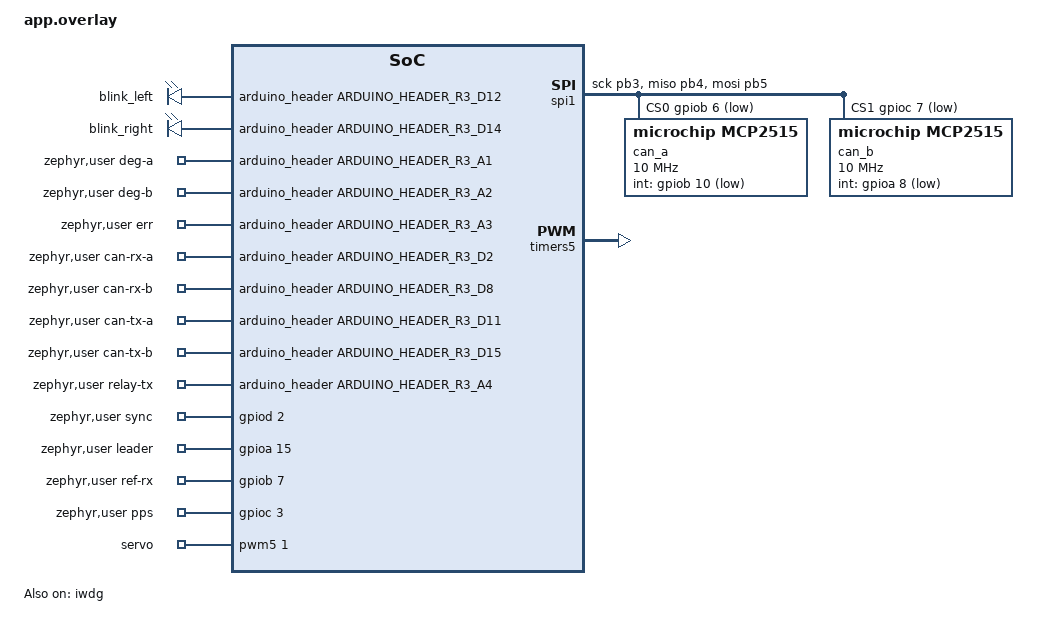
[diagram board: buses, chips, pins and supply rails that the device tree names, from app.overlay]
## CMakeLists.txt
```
cmake_minimum_required(VERSION 3.20.0)
find_package(Zephyr REQUIRED HINTS $ENV{ZEPHYR_BASE})
project(stm32_front)

# N2, the steering zone
target_compile_definitions(app PRIVATE NODE_ID=2)

# LEADER=random etc. for checkoff: west build-<front|rear> -p -- -DRAFT_DEFAULT_LEADER=0 (see raft_config.h)
foreach(opt RAFT_DEFAULT_LEADER RAFT_SEED)
	if(DEFINED ${opt})
		target_compile_definitions(app PRIVATE ${opt}=${${opt}})
	endif()
endforeach()

set(COMMON ${CMAKE_CURRENT_SOURCE_DIR}/../stm32-common)

target_sources(app PRIVATE src/main.c src/servo.c ${COMMON}/src/canbus.c ${COMMON}/src/relay.c
	${COMMON}/src/ctrl.c ${COMMON}/src/errorstate.c ${COMMON}/src/blinker.c
	${COMMON}/src/globaltime.c ${COMMON}/src/raftlog.c ${COMMON}/src/raftnode.c ${COMMON}/src/raft.c)
target_include_directories(app PRIVATE include ${COMMON}/include)
```

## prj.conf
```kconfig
CONFIG_GPIO=y
CONFIG_PWM=y
CONFIG_CAN=y
CONFIG_CRC=y
CONFIG_WATCHDOG=y

# Debug: print the reset cause at boot (was it the watchdog?)
CONFIG_HWINFO=y

# main does init, then FORCE_TX: the lowest priority, below every other thread
CONFIG_MAIN_THREAD_PRIORITY=10

# One MCP2515 filter per received CAN ID (canbus.c MAX_HANDLERS)
CONFIG_CAN_MCP2515_MAX_FILTERS=24

# 1 us ticks: clock_settime/gettime count in ticks, and 100 us (the default) is too coarse for sync
CONFIG_SYS_CLOCK_TICKS_PER_SEC=1000000
```

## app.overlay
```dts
/*
 * N2 (front, steering) pin assignments for the Nucleo-F401RE.
 * The CAN wiring is the same on both nodes; stm32-can-test uses this file.
 * Common code needs the same labels on both nodes (CAN, DEG_A/B, ERR,
 * blinkers, CAN test points).
 *
 * Pitfalls:
 * - The board file already gives many header pins to SPI/I2C/UART/PWM. The
 *   build does NOT flag two users of one pin; the last driver to set it
 *   wins. Before enabling a board peripheral, check its pins against this file.
 * - GPIOs use Arduino names (D2, A5); PWM pinctrl uses MCU names (PA10).
 *   Both refer to the same pins.
 * - D13 (PA5) also drives the green LD2.
 * - Interrupt pins need different pin numbers (one EXTI line per number).
 *   In use: CAN INT 10 and 8, test button 13.
 */

/ {
    aliases {
        can-a = &can_a;
        can-b = &can_b;
    };

    chosen {
        zephyr,canbus = &can_a;	/* only for samples like can/counter */
    };
};

/* Board peripherals that claim pins we use */
&spi1 {
    status = "okay";
    /* Set pins to: SCK PB3, MISO PB4, MOSI PB5 */
    pinctrl-0 = <&spi1_sck_pb3 &spi1_miso_pb4 &spi1_mosi_pb5>;
	pinctrl-names = "default";
    
    /* Entry 0 -> reg <0>, entry 1 -> reg <1> */
    cs-gpios = <&gpiob 6 (GPIO_ACTIVE_LOW | GPIO_PULL_UP)>,  /* D10: CAN A CS */
           <&gpioc 7 (GPIO_ACTIVE_LOW | GPIO_PULL_UP)>;  /* D9:  CAN B CS */

    can_a: mcp2515@0 {
        compatible = "microchip,mcp2515";
        reg = <0>;                          /* index into cs-gpios */
        spi-max-frequency = <10000000>;     /* MCP2515 limit; see note on actual clock */
        int-gpios = <&gpiob 10 GPIO_ACTIVE_LOW>;  /* D6: module D6 INT */
        osc-freq = <16000000>;
        bitrate = <500000>;
        status = "okay";
    };

    can_b: mcp2515@1 {
        compatible = "microchip,mcp2515";
        reg = <1>;
        spi-max-frequency = <10000000>;
        int-gpios = <&gpioa 8 GPIO_ACTIVE_LOW>;   /* D7: module D6 INT */
        osc-freq = <16000000>;
        bitrate = <500000>;
        status = "okay";
    };
};

&usart1 {	/* D10 */
	status = "disabled";
};

&pwm2 {		/* D13 */
	status = "disabled";
};

&i2c1 {		/* D14, D15 */
	status = "disabled";
};

&i2c3 {		/* D7 */
	status = "disabled";
};

/* Servo: A0 = PA0 */
&timers5 {
	status = "okay";

	pwm5: pwm {
		status = "okay";
		pinctrl-0 = <&tim5_ch1_pa0>;
		pinctrl-names = "default";
	};
};

/ {
	/* pin -> 4.7k -> LED -> GND, so high = on */
	blinkers {
		compatible = "gpio-leds";

		blink_left: blink_fl {
			gpios = <&arduino_header ARDUINO_HEADER_R3_D12 GPIO_ACTIVE_HIGH>;
		};

		blink_right: blink_fr {
			gpios = <&arduino_header ARDUINO_HEADER_R3_D14 GPIO_ACTIVE_HIGH>;
		};
	};

	zephyr,user {
		pwms = <&pwm5 1 PWM_MSEC(20) PWM_POLARITY_NORMAL>;
		pwm-names = "servo";

		/* LEDs and test points */
		deg-a-gpios = <&arduino_header ARDUINO_HEADER_R3_A1 GPIO_ACTIVE_HIGH>;
		deg-b-gpios = <&arduino_header ARDUINO_HEADER_R3_A2 GPIO_ACTIVE_HIGH>;
		err-gpios = <&arduino_header ARDUINO_HEADER_R3_A3 GPIO_ACTIVE_HIGH>;
		can-rx-a-gpios = <&arduino_header ARDUINO_HEADER_R3_D2 GPIO_ACTIVE_HIGH>;
		can-rx-b-gpios = <&arduino_header ARDUINO_HEADER_R3_D8 GPIO_ACTIVE_HIGH>;
		can-tx-a-gpios = <&arduino_header ARDUINO_HEADER_R3_D11 GPIO_ACTIVE_HIGH>;
		can-tx-b-gpios = <&arduino_header ARDUINO_HEADER_R3_D15 GPIO_ACTIVE_HIGH>;
		relay-tx-gpios = <&arduino_header ARDUINO_HEADER_R3_A4 GPIO_ACTIVE_HIGH>;

		/* Lab 5, morpho CN7 pins 4, 17, 21, 37 (same on both nodes) */
		sync-gpios = <&gpiod 2 GPIO_ACTIVE_HIGH>;
		leader-gpios = <&gpioa 15 GPIO_ACTIVE_HIGH>;
		ref-rx-gpios = <&gpiob 7 GPIO_ACTIVE_HIGH>;
		pps-gpios = <&gpioc 3 GPIO_ACTIVE_HIGH>;
	};
};

&iwdg {
	status = "okay";
};
```

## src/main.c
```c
#include <errno.h>

#include <zephyr/kernel.h>
#include <zephyr/sys/printk.h>

#include "blinker.h"
#include "canbus.h"
#include "ctrl.h"
#include "errorstate.h"
#include "globaltime.h"
#include "raft.h"
#include "relay.h"
#include "servo.h"

#define FORCE_PERIOD_MS 50

static void on_ctrl(const struct can_frame *f)
{
	struct ctrl c;
	int ret = ctrl_parse(f, &c);

	if (ret == -ERANGE) {
		errorstate_bad_ctrl();
	}
	if (ret != 0) {
		return;
	}

	/* First, so the servo has left the error state */
	errorstate_ctrl_ok();
	servo_command(c.steer);
}

int main(void)
{
	if (servo_init() != 0 || errorstate_init(servo_set_error) != 0 ||
	    blinker_init() != 0 || relay_init() != 0 || globaltime_init() != 0 ||
	    raft_init() != 0 ||
	    canbus_on(CAN_ID_CTRL, on_ctrl) != 0 || canbus_init() != 0) {
		printk("init failed\n");
		return 1;
	}

	/* FORCE_TX: a dummy counter every 50 ms, at main's priority (the lowest) */
	struct k_timer timer;
	uint8_t force = 0;

	k_timer_init(&timer, NULL, NULL);
	k_timer_start(&timer, K_MSEC(FORCE_PERIOD_MS), K_MSEC(FORCE_PERIOD_MS));

	while (1) {
		k_timer_status_sync(&timer);

		uint8_t data[8] = { 0, force++ };

		canbus_send(CAN_ID_FORCE, data);
	}
}
```

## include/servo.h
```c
#ifndef SERVO_H
#define SERVO_H

#include <stdbool.h>
#include <stdint.h>

/* Steering: -100 = full left, 0 = centre, 100 = full right */
#define SERVO_STEER_MAX 100

/*
 * pulse = CENTRE + RANGE * steering / 100, in us.
 * CENTRE: wheels straight. RANGE: centre to full lock
 */
#define SERVO_PULSE_CENTRE_US 1500
#define SERVO_PULSE_RANGE_US 700

/* Outputs centre; starts in the error state */
int servo_init(void);

/* Clamped to -100..100; ignored in the error state. ISR-safe. */
void servo_command(int32_t steering);

/* true = hold the current position and ignore commands */
void servo_set_error(bool error);

#endif
```

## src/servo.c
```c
/*
 * Steering servo, 50 Hz PWM. The timer repeats the pulse by itself, so no
 * thread is needed. A new width starts at the next period (<= 20 ms).
 */

#include <zephyr/kernel.h>
#include <zephyr/drivers/pwm.h>

#include "servo.h"

static const struct pwm_dt_spec servo = PWM_DT_SPEC_GET_BY_NAME(DT_PATH(zephyr_user), servo);

/* Also set from the test-button ISR (via errorstate), so under the lock */
static struct k_spinlock lock;
static bool error = true;	/* power-up is the error state */

/* Clamping the input keeps the pulse within CENTRE +/- RANGE */
static void write_steering(int32_t steering)
{
	steering = CLAMP(steering, -SERVO_STEER_MAX, SERVO_STEER_MAX);

	int32_t us = SERVO_PULSE_CENTRE_US +
		     SERVO_PULSE_RANGE_US * steering / SERVO_STEER_MAX;

	/* Only register writes, so fine under a spinlock */
	pwm_set_pulse_dt(&servo, PWM_USEC(us));
}

int servo_init(void)
{
	if (!pwm_is_ready_dt(&servo)) {
		return -ENODEV;
	}

	k_spinlock_key_t key = k_spin_lock(&lock);

	write_steering(0);

	k_spin_unlock(&lock, key);
	return 0;
}

void servo_command(int32_t steering)
{
	k_spinlock_key_t key = k_spin_lock(&lock);

	if (!error) {
		write_steering(steering);
	}

	k_spin_unlock(&lock, key);
}

void servo_set_error(bool new_error)
{
	k_spinlock_key_t key = k_spin_lock(&lock);

	error = new_error;

	k_spin_unlock(&lock, key);
}
```
